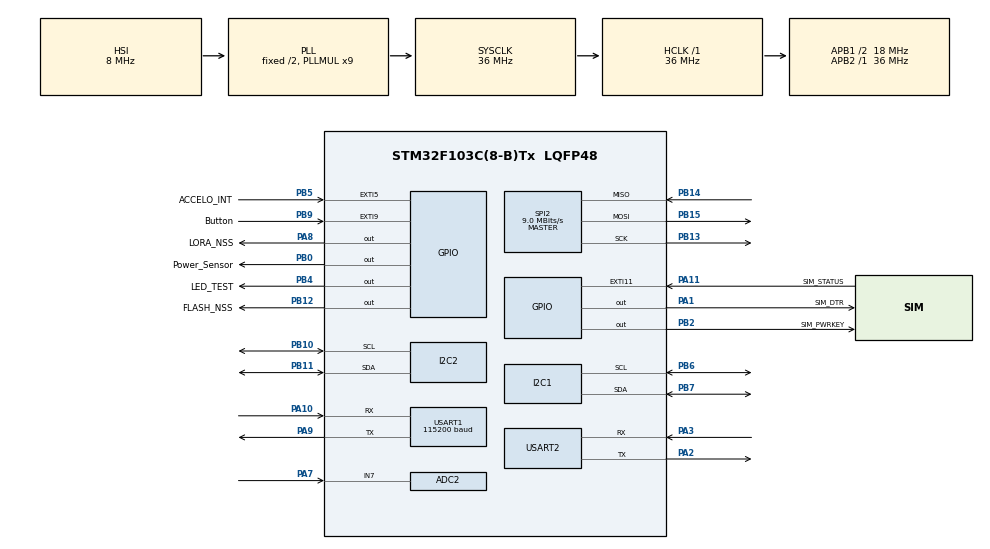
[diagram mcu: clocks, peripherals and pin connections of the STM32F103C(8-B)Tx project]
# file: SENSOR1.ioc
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Mcu.Family=STM32F1
NVIC.I2C1_EV_IRQn=true\:5\:0\:true\:false\:true\:true\:true
SPI2.VirtualType=VM_MASTER
PB10.Mode=I2C
ADC2.Channel-0\#ChannelRegularConversion=ADC_CHANNEL_7
USART1.BaudRate=115200
VP_RTC_VS_RTC_Activate.Mode=RTC_Enabled
RTC.WeekDay=RTC_WEEKDAY_MONDAY
PB0.GPIO_Label=Power_Sensor
PB11.Signal=I2C2_SDA
PB13.Signal=SPI2_SCK
PB15.Signal=SPI2_MOSI
RCC.SYSCLKSource=RCC_SYSCLKSOURCE_PLLCLK
ProjectManager.StackSize=0x400
PD1-OSC_OUT.Signal=RCC_OSC_OUT
RCC.HCLKFreq_Value=36000000
RCC.APB2TimFreq_Value=36000000
PB6.Signal=I2C1_SCL
PB12.PinState=GPIO_PIN_SET
PB6.Mode=I2C
PB9.GPIO_ModeDefaultEXTI=GPIO_MODE_IT_FALLING
RCC.AHBFreq_Value=36000000
NVIC.EXTI15_10_IRQn=true\:1\:0\:true\:false\:true\:true\:true
RTC.Minutes=35
PB2.Signal=GPIO_Output
RCC.RTCClockSelection=RCC_RTCCLKSOURCE_LSE
RCC.PLLMUL=RCC_PLL_MUL9
PB12.GPIO_Label=FLASH_NSS
RTC.Month=RTC_MONTH_JANUARY
PC14-OSC32_IN.Mode=LSE-External-Oscillator
PA14.Mode=Serial_Wire
PB14.Mode=Full_Duplex_Master
NVIC.TIM2_IRQn=true\:4\:0\:true\:false\:true\:true\:true
SPI2.CalculateBaudRate=9.0 MBits/s
PB7.Signal=I2C1_SDA
PA8.Signal=GPIO_Output
PA8.GPIO_ModeDefaultOutputPP=GPIO_MODE_OUTPUT_PP
NVIC.I2C1_ER_IRQn=true\:6\:0\:true\:false\:true\:true\:true
Mcu.Package=LQFP48
PB9.Signal=GPXTI9
TIM2.Prescaler=35999
SPI2.Mode=SPI_MODE_MASTER
USART2.VirtualMode=VM_ASYNC
PA10.Signal=USART1_RX
VP_RTC_VS_RTC_Calendar.Mode=RTC_Calendar
ADC2.SamplingTime-0\#ChannelRegularConversion=ADC_SAMPLETIME_71CYCLES_5
PB5.GPIO_Label=ACCELO_INT
RCC.APB1TimFreq_Value=36000000
SPI2.Direction=SPI_DIRECTION_2LINES
PB13.Mode=Full_Duplex_Master
ADC2.Rank-0\#ChannelRegularConversion=1
NVIC.USART1_IRQn=true\:3\:0\:true\:false\:true\:true\:true
PA8.PinState=GPIO_PIN_SET
PB4.Signal=GPIO_Output
PA3.Signal=USART2_RX
PB5.GPIO_ModeDefaultEXTI=GPIO_MODE_IT_FALLING
PC15-OSC32_OUT.Mode=LSE-External-Oscillator
PD1-OSC_OUT.Mode=HSE-External-Oscillator
PB9.GPIO_Label=Button
PA10.Mode=Asynchronous
PA11.GPIO_Label=SIM_STATUS
PD0-OSC_IN.Signal=RCC_OSC_IN
RCC.APB1CLKDivider=RCC_HCLK_DIV2
PC14-OSC32_IN.Signal=RCC_OSC32_IN
NVIC.USART2_IRQn=true\:2\:0\:true\:false\:true\:true\:true
RCC.ADCPresc=RCC_ADCPCLK2_DIV6
PA13.Signal=SYS_JTMS-SWDIO
PA3.Mode=Asynchronous
PA9.Mode=Asynchronous
PA8.GPIO_Label=LORA_NSS
PB11.Mode=I2C
ADC2.ContinuousConvMode=ENABLE
ProjectManager.TargetToolchain=MDK-ARM V5
RTC.Year=21
SH.ADCx_IN7.0=ADC1_IN7
SH.ADCx_IN7.1=ADC2_IN7,IN7
PA9.Signal=USART1_TX
RTC.Format=RTC_FORMAT_BIN
RCC.USBFreq_Value=36000000
PC15-OSC32_OUT.Signal=RCC_OSC32_OUT
PA1.Signal=GPIO_Output
PD0-OSC_IN.Mode=HSE-External-Oscillator
PB10.Signal=I2C2_SCL
PB14.Signal=SPI2_MISO
PA5.Signal=ADCx_IN5
board=custom
PB15.Mode=Full_Duplex_Master
RCC.APB2Freq_Value=36000000
PB4.GPIO_Label=LED_TEST
VP_TIM2_VS_ClockSourceINT.Mode=Internal
PA1.GPIO_Label=SIM_DTR
SH.ADCx_IN4.0=ADC1_IN4
TIM2.Period=999
PA13.Mode=Serial_Wire
Mcu.Name=STM32F103C(8-B)Tx
PA2.Signal=USART2_TX
PA4.Signal=ADCx_IN4
RCC.SYSCLKFreq_VALUE=36000000
RTC.Hours=21
PB5.Signal=GPXTI5
ADC2.NbrOfConversionFlag=1
USART1.VirtualMode=VM_ASYNC
PB7.Mode=I2C
PA11.Signal=GPXTI11
NVIC.EXTI9_5_IRQn=true\:1\:0\:true\:false\:true\:true\:true
PA14.Signal=SYS_JTCK-SWCLK
PB2.GPIO_Label=SIM_PWRKEY
ProjectManager.HeapSize=0x200
SH.ADCx_IN5.0=ADC1_IN5
NVIC.PriorityGroup=NVIC_PRIORITYGROUP_4
PA2.Mode=Asynchronous
RTC.Seconds=30
PA11.GPIO_ModeDefaultEXTI=GPIO_MODE_IT_FALLING
RCC.APB1Freq_Value=18000000
PB0.Signal=GPIO_Output
RTC.Date=11
PB12.Signal=GPIO_Output
PA7.Signal=ADCx_IN7

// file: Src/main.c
/* USER CODE BEGIN Header */
/**
  ******************************************************************************
  * @file           : main.c
  * @brief          : Main program body
  ******************************************************************************
  * @attention
  *
  * <h2><center>&copy; Copyright (c) 2020 STMicroelectronics.
  * All rights reserved.</center></h2>
  *
  * This software component is licensed by ST under BSD 3-Clause license,
  * the "License"; You may not use this file except in compliance with the
  * License. You may obtain a copy of the License at:
  *                        opensource.org/licenses/BSD-3-Clause
  *
  ******************************************************************************
  */
/* USER CODE END Header */
#include "main.h"
#include "adc.h"
#include "i2c.h"
#include "rtc.h"
#include "spi.h"
#include "tim.h"
#include "usart.h"
#include "gpio.h"

/* USER CODE BEGIN Includes */
#include "LCD.h"
#include "string.h"
#include "stdio.h"
#include "Display.h"
#include "Solar.h"
#include "Lora.h"
#include "Sim808.h"
#include "GPS.h"
#include "w25qxx.h"
#include "delay.h"
#include "ds18b20.h"
#include "Turbidity.h"
/* USER CODE END Includes */

/* USER CODE BEGIN PD */
#define SEAWATCH_CHANNEL		1
#define POWER_CHANNEL	2
#define INFOR_CHANNEL 3
//#define DEBUG 1
/* USER CODE END PD */

/* USER CODE BEGIN PV */
extern uint8_t Xcursor,Ycursor;
extern CLCD_I2C_Name LCD1;

extern RTC_TimeTypeDef sTime ;
extern RTC_DateTypeDef DateToUpdate ;

float Temp=37.2;
float Turbidity = 400.1;
float PH=6.5;
float WaveAmplitude=2.45;

float tesetmem;

/* Sim variables */
char Sim_response[500] = {0};
char Sim_Rxdata[2] = {0};

extern char Vdischarge[10];
extern char Idischarge[10];
extern char Pdischarge[10];
extern char Icharge[10];
extern char Pcharge[10];
extern char Vbattery[10];
extern uint8_t LightStatus;  // 1 : cho phep bat den chop 0: ko cho phep
extern uint8_t CurrentSource; // 1: Solar 0: Wave

extern  Simcom_TypeDef hsimcom;
extern  GPS_Simcom_TypeDef hgps;

typedef struct
{
	float Pdischarge;
	float PchargeWave;
	float PchargeSolar;
	float Idischarge;
	float IchargeWave;
	float IchargeSolar;
	double Longtitude;
	double Latitude;
	float  Temperature;
	float  Turbidity;
	float  PH;
	float  DO;
	float  WaveAmplitude;
	uint16_t Year;
	uint8_t Month;
	uint8_t Day;
	uint8_t Hour;
	uint8_t Minute;
} Data ;
Data SeaWatch;
Data SubSeaWatch[16];
Data SeaWatch1;
volatile char IDnumber[20];
volatile uint8_t LenIDnumber;
uint16_t CurrentPage;

uint16_t ADC[2];

uint8_t flash1[8] = {1,2,3,4,5,6,7,8};
uint8_t flash2[20] ;
uint8_t  L;
uint8_t second;

uint8_t CHANNEL,ButtonFlag,SimStatusFlag=0;

uint8_t countT2=0;

char httpbuffer[400];

char buffer1[100], buffer2[100]; //Khai bao mang buffer 100 phan tu
int len1; //Khai bao bien len tuong ung voi chieu dai
char Rx_indx1, Rx_data1[2], Transfer_cplt1=0;
char Rx_indx2, Rx_data2[2], Transfer_cplt2=0;
char Rx_Buffer1[100],Rx_Buffer2[255];

////temp
uint8_t temp_l, temp_h;
uint16_t temp;
uint8_t flagTemp;
/* USER CODE END PV */

void SystemClock_Config(void);

/* USER CODE BEGIN 0 */
void HAL_UART_RxCpltCallback(UART_HandleTypeDef *huart)
{
	uint8_t i;
	//static char data=0;
	if (huart-> Instance == USART1) // UART hien tai la uart3
	{
		if (Rx_indx1==0) {for (i=0;i<100;i++) Rx_Buffer1[i]=0;} // xoa Rx_Buffer truoc khi nhan du lieu

		if (Rx_data1[0] !=13) // Neu du lieu nhan duoc khac voi 13 ( enter )
		{
			Rx_Buffer1[Rx_indx1++]=Rx_data1[0];
//			if( (data=='@')&& (Rx_data[0]!='@')) Rx_Buffer[Rx_indx++]=Rx_data[0];
//			if ( (data==0)&& (Rx_data[0]=='@')) { data='@';} // Them du lieu vao Rx_Buffer
		}
		else // Neu phihm enter duoc nhan
		{
			Rx_indx1 =0 ;  // Dua indx ve 0
			Transfer_cplt1 =1 ; // Qua tring truyen hoan tat, du lieu da san sang de doc
			PreProcesSOLAR();
			MainProcesSOLAR();

			Transfer_cplt1=0;
		}
		HAL_UART_Receive_IT(&huart1 , (uint8_t *)&Rx_data1, 1); //Kich hoat Uart nhan du lieu ngat moi luc
	}
	else if (huart-> Instance == USART2) // UART hien tai la uart2 SIM
	{
//		if (Rx_indx2==0) {for (i=0;i<100;i++) Rx_Buffer2[i]=0;} // xoa Rx_Buffer truoc khi nhan du lieu
//
//		if (Rx_data2[0] !=10) // Neu du lieu nhan duoc khac voi 13 ( enter )
//		{
//			Rx_Buffer2[Rx_indx2++]=Rx_data2[0];
////			if( (data=='@')&& (Rx_data[0]!='@')) Rx_Buffer[Rx_indx++]=Rx_data[0];
////			if ( (data==0)&& (Rx_data[0]=='@')) { data='@';} // Them du lieu vao Rx_Buffer
//		}
//		else // Neu phim enter duoc nhan
//		{
//			Rx_indx2 =0 ;  // Dua indx ve 0
//			Transfer_cplt2 =1 ; // Qua tring truyen hoan tat, du lieu da san sang de doc
//		}
//		HAL_UART_Receive_IT(&huart2 , (uint8_t *)&Rx_data2, 1); //Kich hoat Uart nhan du lieu ngat moi luc
			simcom_receive_data_it();
	}
}
void BlinkLed( void )
{
	for (int8_t i=0; i<4;i++)
	{
		HAL_GPIO_TogglePin(GPIOB,LED_TEST_Pin);
		HAL_Delay(200);
	}

}
void ShowTEST(char * abc)
{
	CLCD_I2C_Clear(&LCD1);
	CLCD_I2C_SetCursor(&LCD1, 0, 0);
	CLCD_I2C_WriteString(&LCD1,abc);
}
void ReadCurrentPage(void ) // Sector 1
{
	uint8_t A[4];
	W25qxx_ReadSector(A,1,0,4);
	CurrentPage = A[0]+10*A[1]+100*A[2]+1000*A[3];
}
void WriteCurrentPage( uint16_t N ) // Sector 1
{
	uint16_t G= N;
	uint8_t a;
	W25qxx_EraseSector(1);
	for (uint8_t i=1;i<=4;i++)
			{
				a=G%10;
				G=G/10;
				W25qxx_WriteSector(&a,1,i-1,1);
			}
}
void WriteSeaWatch(void )
{
	CurrentPage++;
	W25qxx_WritePage((uint8_t *)&SeaWatch,CurrentPage,0,sizeof(SeaWatch));
	WriteCurrentPage(CurrentPage);
}
void ReadSeaWatch()
{
	W25qxx_ReadPage((uint8_t *)&SeaWatch,CurrentPage,0,sizeof(SeaWatch));
	if (CurrentPage%16==0) //vua chuyen sang sector moi
	{
		// xoa Sector
		W25qxx_EraseSector(CurrentPage/16);
	}
	CurrentPage--;
	WriteCurrentPage(CurrentPage);
}

uint8_t PushSeaWatch(void )
{
	ReadSeaWatch();
}
/* USER CODE END 0 */

int main(void)
{

  /* MCU Configuration--------------------------------------------------------*/

  /* Reset of all peripherals, Initializes the Flash interface and the Systick. */
  HAL_Init();

  /* Configure the system clock */
  SystemClock_Config();

  /* Initialize all configured peripherals */
  MX_GPIO_Init();
  MX_I2C1_Init();
  MX_I2C2_Init();
  MX_SPI2_Init();
  MX_USART1_UART_Init();
  MX_USART2_UART_Init();
  MX_TIM2_Init();
  MX_RTC_Init();
  MX_ADC2_Init();
  /* USER CODE BEGIN 2 */
	HAL_GPIO_WritePin(GPIOB,Power_Sensor_Pin,GPIO_PIN_SET);   // Turn on 5V for sensor and LCD

	CHANNEL =SEAWATCH_CHANNEL;
	ButtonFlag =0;
	SimStatusFlag=0;
	flagTemp =0;
  /////////////////////////////////////////
	CLCD_I2C_Init(&LCD1,&hi2c1,(0x27<<1),20,4);
	SaveCCG();
	ShowSeaWatch();
	DWT_Delay_Init();
	HAL_ADC_Start(&hadc2);
	HAL_UART_Receive_IT(&huart1,(uint8_t *)Rx_data1,1); // Kich hoat ngat uart khi nhan duoc 1 byte
	HAL_TIM_Base_Start_IT(&htim2);
///////////////////////////////////////////////////////////////////

		if (W25qxx_Init()==true)
		{

			// W25qxx_EraseChip();
			W25qxx_ReadPage(&L,0,0,1);

			if ((L<=9)||(L>=12))
			{
					if (Sim_init() !=-1)
	        {
						if  (Sim_Get_Phonenumber()==1)
						{

							W25qxx_EraseSector(0);
							LenIDnumber = strlen((char*)IDnumber);
							W25qxx_WritePage(&LenIDnumber,0,0,1);
							W25qxx_WritePage((uint8_t*)IDnumber,0,1,LenIDnumber);

						}
					}
			}
			else
			{
							W25qxx_ReadPage((uint8_t* )IDnumber,0,1,L);
							//ShowTEST("Da co ID trong FLASH");HAL_Delay(2000);

			}

////			W25qxx_EraseSector(2);
////			WriteCurrentPage(31);
////  		ReadCurrentPage();
		}

///////////////////////////////////////////////////////////////////////
//	Init_Sim_Parameter();

///////////////////////////////////////////////////////

///////////////////////////////////////////////////////
  /* USER CODE END 2 */

  /* Infinite loop */
  while (1)
  {

    /* USER CODE BEGIN 3 */

// Day du lieu HTTP
///////////////////////////////////////////////////////
		if (Sim_init()==1)
		{
//		HAL_Delay(10000);
//// Doc thong so Power
//		PreProcesSOLAR();
//		MainProcesSOLAR();
	  SeaWatch.Pdischarge = atof(Pdischarge);
		SeaWatch.PchargeSolar = atof(Pcharge);
		SeaWatch.Idischarge = atof(Idischarge);
		SeaWatch.IchargeSolar = atof(Icharge);
//Doc thong so thoi gian
		HAL_RTC_GetTime(&hrtc,&sTime,RTC_FORMAT_BIN);
		HAL_RTC_GetDate(&hrtc,&DateToUpdate,RTC_FORMAT_BIN);
		second = sTime.Seconds;
		SeaWatch.Minute=sTime.Minutes;
		SeaWatch.Hour = sTime.Hours;
		SeaWatch.Day = DateToUpdate.Date;
		SeaWatch.Month = DateToUpdate.Month;
		if (SeaWatch.Month >=10) SeaWatch.Month-=6;
		SeaWatch.Year = DateToUpdate.Year;
// Doc Sensor
		ReadValueTurbidity();
		SeaWatch.Turbidity = Turbidity;
		ReadvalueTemp();
		char  ch[7];
		sprintf(ch,"%d.%d",	temp_h,temp_l);
		SeaWatch.Temperature = atof(ch)	;
// Doc GPS
///////////////////////////////////////////////////////
		if (GPS_TurnOn()==1)
		{
			if (GPS_Read()==1)
			{
			 SeaWatch.Latitude=	hgps.GPS_latitude;
			 SeaWatch.Longtitude= hgps.GPS_longtitude;
			}
				else
					{
						SeaWatch.Latitude=0;
						SeaWatch.Longtitude=0;
					}

			GPS_TurnOff();
		}
////////////////////////////////////////////////////////
		if (Sim_Bearer_Configure()==1)

		{
			sprintf(httpbuffer,"{\"pDisc\":\"%.3f\",\"pCharW\":\"0\",\"pCharS\":\"%.3f\",\"iDisc\":\"%.3f\",\"iCharW\":\"0\",\"iCharS\":\"%.4f\",\"long\":\"%lf\",\"lat\":\"%lf\",\"temp\":\"%.1f\",\"ph\":\"%.1f\",\"do\":\"%.1f\",\"turbidity\":\"%.1f\",\"waveAmp\":\"%.2f\",\"year\":\"%d\",\"month\":\"%d\",\"day\":\"%d\",\"hour\":\"%d\",\"min\":\"%d\"}",SeaWatch.Pdischarge,SeaWatch.PchargeSolar,SeaWatch.Idischarge,SeaWatch.IchargeSolar,SeaWatch.Longtitude,SeaWatch.Latitude,SeaWatch.Temperature,SeaWatch.PH,SeaWatch.DO,SeaWatch.Turbidity,SeaWatch.WaveAmplitude,SeaWatch.Year,SeaWatch.Month,SeaWatch.Day,SeaWatch.Hour,SeaWatch.Minute);
			//if (Sim_HTTP_Post("{\"pDischarge\":\"12.12\"}")==1)
			//if (Sim_HTTP_Post("{\"name\":\"test\",\"salary\":\"123\",\"age\":\"2\"}")==1)
				if (Sim_HTTP_Post(httpbuffer)==1)
				{
//					ReadCurrentPage();
//					for (uint16_t i=CurrentPage;i>31;i--)
//					{
//
//							if (PushSeaWatch()==-1)  // Day lan luot tung Page len HTTP
//									{
//										CurrentPage ++;
//										uint8_t Sector=CurrentPage/16;
//										uint8_t OffsetPage= CurrentPage%16;
//										for (uint8_t i=0;i<=OffsetPage;i++)
//										{
//											W25qxx_ReadPage((uint8_t *)&SeaWatch1,CurrentPage-OffsetPage+i,0,sizeof(SeaWatch1));  // Luu du lieu vao bo nho dem
//										  SubSeaWatch[i]=SeaWatch1;
//										}
//
//										W25qxx_EraseSector(Sector);		// xao  du lieu
//		  							for (uint8_t i=0;i<=OffsetPage;i++)
//										{
//												W25qxx_WritePage((uint8_t*)&SubSeaWatch[i],CurrentPage-OffsetPage+i,0,sizeof(SeaWatch1)); // Luu du lieu tu bo nho dem vao FLASH
//										}
//										break;
//									}
//
//					}
				}
				else
				{
					//WriteSeaWatch();//Luu vao o nho
				}
				Sim_Bearer_Dis();
		}
	}

	//	HAL_GPIO_WritePin(Power_Sensor_GPIO_Port,Power_Sensor_Pin,1);

//		ReadvalueTemp();
//		HAL_Delay(36000);
//		HAL_GPIO_WritePin(LED_TEST_GPIO_Port,LED_TEST_Pin,1);
//		DWT_Delay_us(400);
//		HAL_GPIO_WritePin(LED_TEST_GPIO_Port,LED_TEST_Pin,0);
//		DWT_Delay_us(400);
//		if (DEBUG) 	ShowTEST("da ve ham main while");
//		HAL_Delay(300);
	HAL_Delay(10000);
  }
  /* USER CODE END 3 */
}

void SystemClock_Config(void)
{
  RCC_OscInitTypeDef RCC_OscInitStruct = {0};
  RCC_ClkInitTypeDef RCC_ClkInitStruct = {0};
  RCC_PeriphCLKInitTypeDef PeriphClkInit = {0};

  /** Initializes the RCC Oscillators according to the specified parameters
  * in the RCC_OscInitTypeDef structure.
  */
  RCC_OscInitStruct.OscillatorType = RCC_OSCILLATORTYPE_HSI|RCC_OSCILLATORTYPE_LSE;
  RCC_OscInitStruct.LSEState = RCC_LSE_ON;
  RCC_OscInitStruct.HSIState = RCC_HSI_ON;
  RCC_OscInitStruct.HSICalibrationValue = RCC_HSICALIBRATION_DEFAULT;
  RCC_OscInitStruct.PLL.PLLState = RCC_PLL_ON;
  RCC_OscInitStruct.PLL.PLLSource = RCC_PLLSOURCE_HSI_DIV2;
  RCC_OscInitStruct.PLL.PLLMUL = RCC_PLL_MUL9;
  if (HAL_RCC_OscConfig(&RCC_OscInitStruct) != HAL_OK)
  {
    Error_Handler();
  }
  /** Initializes the CPU, AHB and APB buses clocks
  */
  RCC_ClkInitStruct.ClockType = RCC_CLOCKTYPE_HCLK|RCC_CLOCKTYPE_SYSCLK
                              |RCC_CLOCKTYPE_PCLK1|RCC_CLOCKTYPE_PCLK2;
  RCC_ClkInitStruct.SYSCLKSource = RCC_SYSCLKSOURCE_PLLCLK;
  RCC_ClkInitStruct.AHBCLKDivider = RCC_SYSCLK_DIV1;
  RCC_ClkInitStruct.APB1CLKDivider = RCC_HCLK_DIV2;
  RCC_ClkInitStruct.APB2CLKDivider = RCC_HCLK_DIV1;

  if (HAL_RCC_ClockConfig(&RCC_ClkInitStruct, FLASH_LATENCY_1) != HAL_OK)
  {
    Error_Handler();
  }
  PeriphClkInit.PeriphClockSelection = RCC_PERIPHCLK_RTC|RCC_PERIPHCLK_ADC;
  PeriphClkInit.RTCClockSelection = RCC_RTCCLKSOURCE_LSE;
  PeriphClkInit.AdcClockSelection = RCC_ADCPCLK2_DIV6;
  if (HAL_RCCEx_PeriphCLKConfig(&PeriphClkInit) != HAL_OK)
  {
    Error_Handler();
  }
}

/* USER CODE BEGIN 4 */
	_ARMABI int fputc(int c, FILE *stream)
{
		HAL_UART_Transmit(&huart1, (uint8_t *) &c,1,100);
		return 0;
}

void HAL_TIM_PeriodElapsedCallback(TIM_HandleTypeDef *htim)
{
	if (flagTemp!=1)
	{
		if  (htim->Instance == TIM2)
		{
			countT2++;
			switch(countT2)
			{
				case 1 :GetDischarger();
								break;
				case 2 :GetCharger();
								break;
				case 3 :GetStatus();
								break;
				case 4: countT2=0;
								break;
				default: break;
			}
			if (countT2%2==0)
			{
				ReadvalueTemp();
				ReadValueTurbidity();
			}
			if (CHANNEL == INFOR_CHANNEL) UpdateInfor();
			if (CHANNEL == POWER_CHANNEL) UpdateShowPower();
			if (CHANNEL == SEAWATCH_CHANNEL) UpdateSeaWatch();
		}
	}
}
void HAL_GPIO_EXTI_Callback(uint16_t GPIO_Pin)
{
	if (flagTemp!=1)
	{
		if (GPIO_Pin == Button_Pin)
			{
					HAL_GPIO_TogglePin(GPIOB,LED_TEST_Pin);
					if (CHANNEL == INFOR_CHANNEL)
					{
						CHANNEL = POWER_CHANNEL;
						ShowPower();
						//HAL_Delay(2000);
					}
					else if (CHANNEL == POWER_CHANNEL)
					{
						CHANNEL = SEAWATCH_CHANNEL;
						ShowSeaWatch();
						//HAL_Delay(2000);
					}
					else if (CHANNEL == SEAWATCH_CHANNEL)
					{
						CHANNEL = INFOR_CHANNEL;
						ShowInfor();
						//HAL_Delay(2000);
					}
				//	ButtonFlag=0;
			}
		else if (GPIO_Pin == SIM_STATUS_Pin)
			{
				if (hsimcom.pwrkey==0) NVIC_SystemReset();
			}
		}
}
/* USER CODE END 4 */

void Error_Handler(void)
{
  __disable_irq();
  while (1)
  {
  }
}

/************************ (C) COPYRIGHT STMicroelectronics *****END OF FILE****/
